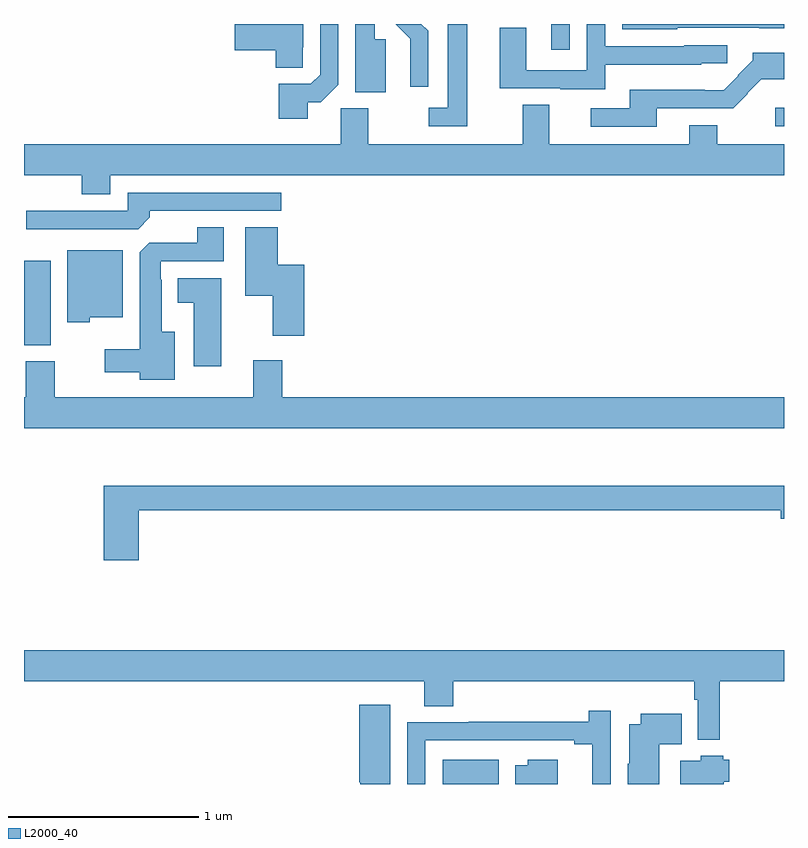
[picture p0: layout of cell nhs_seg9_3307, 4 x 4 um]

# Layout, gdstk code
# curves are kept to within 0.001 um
import gdstk
lib = gdstk.Library(unit=1e-6, precision=1e-09)
def R(c, l, rs):  # rectangles x0, y0, x1, y1
    for r in rs: c.add(gdstk.rectangle(r[:2], r[2:], *l))
def P(c, l, *ps):  # polygons
    for p in ps: c.add(gdstk.Polygon(p, *l))
L2000_40 = (2000, 40)

nhs_seg9_3307 = lib.new_cell('nhs_seg9_3307')
R(nhs_seg9_3307, L2000_40, [(301.205,1242.5,301.498,1242.628), (299,1244.809,299.14,1245.253), (302.955,1245.963,303,1246.06), (301.775,1246.365,301.872,1246.5)])
P(nhs_seg9_3307, L2000_40, [(300.904,1246.419),(300.847,1246.419),(300.847,1246.5),(300.743,1246.5),(300.743,1246.141),(300.904,1246.141)],
  [(302.439,1246.479),(302.871,1246.479),(302.871,1246.478),(303,1246.478),(303,1246.5),(302.148,1246.5),(302.148,1246.472),(302.439,1246.472)],
  [(301.128,1246.464),(301.092,1246.5),(300.956,1246.5),(301.034,1246.422),(301.034,1246.316),(301.032,1246.316),(301.032,1246.17),(301.128,1246.17)],
  [(300.493,1246.087),(300.561,1246.087),(300.654,1246.179),(300.654,1246.5),(300.558,1246.5),(300.558,1246.233),(300.51,1246.185),(300.341,1246.185),(300.341,1246.002),(300.493,1246.002)],
  [(301.333,1246.5),(301.233,1246.5),(301.233,1246.499),(301.229,1246.499),(301.229,1246.059),(301.131,1246.059),(301.131,1245.963),(301.333,1245.963)],
  [(302.059,1246.286),(302.565,1246.286),(302.565,1246.293),(302.7,1246.293),(302.7,1246.389),(302.475,1246.389),(302.475,1246.383),(302.058,1246.383),(302.058,1246.5),(301.962,1246.5),(301.962,1246.257),(301.644,1246.257),(301.644,1246.481),(301.505,1246.481),(301.505,1246.161),(301.823,1246.161),(301.823,1246.157),(302.059,1246.157)],
  [(300.468,1246.378),(300.469,1246.378),(300.469,1246.5),(300.108,1246.5),(300.108,1246.361),(300.326,1246.361),(300.326,1246.27),(300.468,1246.27)],
  [(302.329,1246.056),(302.733,1246.056),(302.809,1246.133),(302.807,1246.135),(302.881,1246.209),(303,1246.208),(303,1246.348),(302.836,1246.348),(302.836,1246.309),(302.757,1246.23),(302.76,1246.227),(302.684,1246.151),(302.582,1246.151),(302.582,1246.153),(302.189,1246.153),(302.189,1246.056),(301.983,1246.056),(301.983,1245.96),(302.329,1245.96)],
  [(299.455,1245.704),(303,1245.704),(303,1245.868),(302.649,1245.868),(302.649,1245.967),(302.501,1245.967),(302.501,1245.868),(301.765,1245.868),(301.765,1246.076),(301.625,1246.076),(301.625,1245.868),(300.813,1245.868),(300.813,1246.056),(300.666,1246.056),(300.666,1245.868),(299,1245.868),(299,1245.704),(299.303,1245.704),(299.303,1245.605),(299.455,1245.605)],
  [(299.663,1245.482),(299.663,1245.516),(300.355,1245.516),(300.355,1245.612),(299.547,1245.612),(299.547,1245.516),(299.013,1245.516),(299.013,1245.42),(299.601,1245.42)],
  [(299.794,1244.881),(299.725,1244.881),(299.725,1245.155),(299.721,1245.155),(299.721,1245.252),(300.052,1245.252),(300.052,1245.431),(299.912,1245.431),(299.912,1245.348),(299.658,1245.348),(299.609,1245.299),(299.609,1244.788),(299.424,1244.788),(299.424,1244.666),(299.609,1244.666),(299.609,1244.627),(299.794,1244.627)],
  [(300.476,1245.232),(300.335,1245.232),(300.335,1245.43),(300.164,1245.43),(300.164,1245.07),(300.308,1245.07),(300.308,1244.859),(300.476,1244.859)],
  [(299.346,1244.957),(299.521,1244.957),(299.521,1245.31),(299.228,1245.31),(299.228,1244.93),(299.346,1244.93)],
  [(300.037,1245.163),(299.81,1245.163),(299.81,1245.032),(299.894,1245.032),(299.894,1244.7),(300.037,1244.7)],
  [(303,1244.536),(300.359,1244.536),(300.359,1244.731),(300.206,1244.731),(300.206,1244.536),(299.161,1244.536),(299.161,1244.724),(299.009,1244.724),(299.009,1244.536),(299,1244.536),(299,1244.372),(303,1244.372)],
  [(299.603,1243.942),(302.984,1243.942),(302.984,1243.895),(303,1243.895),(303,1244.071),(299.42,1244.071),(299.42,1243.677),(299.603,1243.677)],
  [(302.663,1243.04),(303,1243.04),(303,1243.204),(299,1243.204),(299,1243.04),(301.106,1243.04),(301.106,1242.91),(301.259,1242.91),(301.259,1243.04),(302.527,1243.04),(302.527,1242.944),(302.547,1242.944),(302.547,1242.734),(302.663,1242.734)],
  [(300.928,1242.916),(300.764,1242.916),(300.764,1242.51),(300.77,1242.51),(300.77,1242.5),(300.928,1242.5)],
  [(301.113,1242.729),(301.895,1242.729),(301.895,1242.709),(301.991,1242.709),(301.991,1242.5),(302.088,1242.5),(302.088,1242.886),(301.972,1242.886),(301.972,1242.827),(301.342,1242.827),(301.342,1242.825),(301.017,1242.825),(301.017,1242.5),(301.113,1242.5)],
  [(302.344,1242.71),(302.462,1242.71),(302.462,1242.871),(302.246,1242.871),(302.246,1242.814),(302.186,1242.814),(302.186,1242.606),(302.177,1242.606),(302.177,1242.5),(302.344,1242.5)],
  [(302.683,1242.513),(302.711,1242.513),(302.711,1242.627),(302.679,1242.627),(302.679,1242.649),(302.562,1242.649),(302.562,1242.622),(302.453,1242.622),(302.453,1242.5),(302.683,1242.5)],
  [(301.81,1242.628),(301.652,1242.628),(301.652,1242.598),(301.586,1242.598),(301.586,1242.5),(301.81,1242.5)])

lib.write_gds('nhs_seg9_3307.gds')
